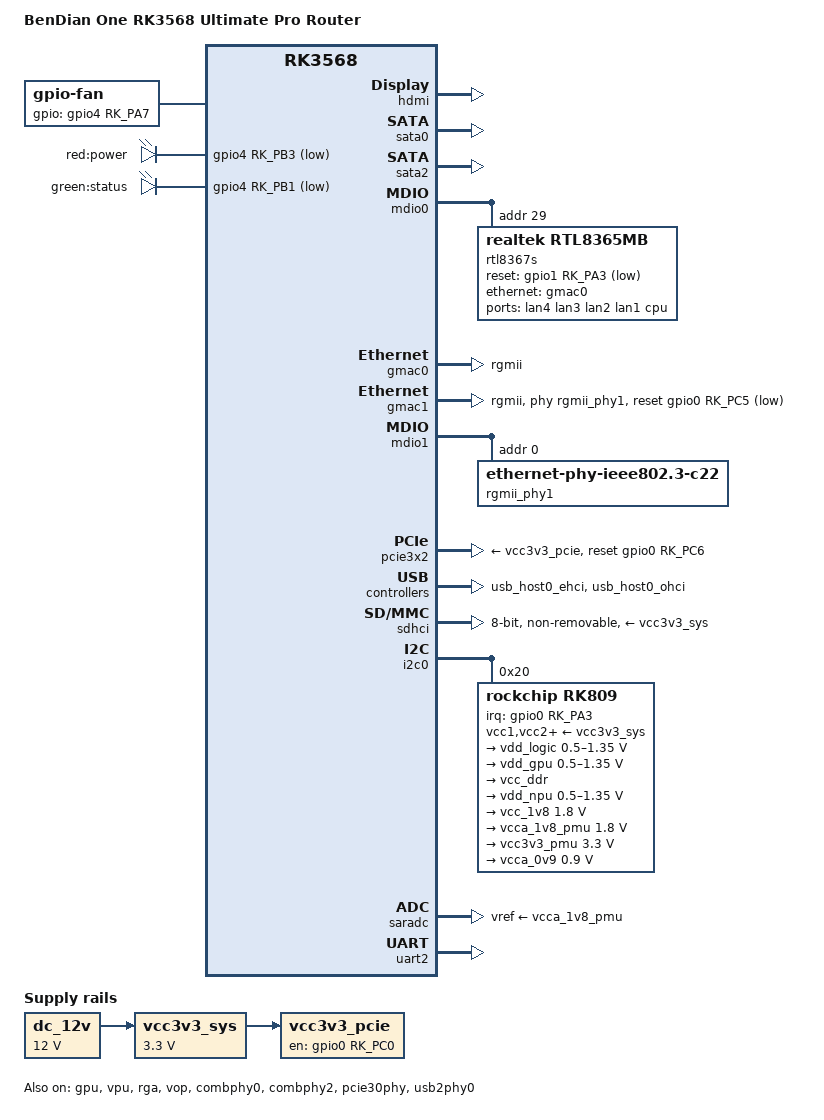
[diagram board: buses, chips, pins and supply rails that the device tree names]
// SPDX-License-Identifier: (GPL-2.0+ OR MIT)

/dts-v1/;

#include <dt-bindings/gpio/gpio.h>
#include <dt-bindings/pwm/pwm.h>
#include <dt-bindings/leds/common.h>
#include <dt-bindings/input/input.h>
#include <dt-bindings/soc/rockchip,vop2.h>
#include <dt-bindings/pinctrl/rockchip.h>
#include <dt-bindings/thermal/thermal.h>
#include "rk3568.dtsi"

/ {
	model = "BenDian One RK3568 Ultimate Pro Router";
	compatible = "bendian,bd-one", "rockchip,rk3568";

	aliases {
		ethernet0 = &gmac0;
		ethernet1 = &gmac1;
		mmc0 = &sdhci;
		serial2 = &uart2;
	};

	chosen {
		stdout-path = "serial2:1500000n8";
	};

	cpu0_opp_table: opp-table-0 {
		compatible = "operating-points-v2";
		opp-shared;
		opp-408000000  { opp-hz = /bits/ 64 <408000000>;  opp-microvolt = <825000>; };
		opp-600000000  { opp-hz = /bits/ 64 <600000000>;  opp-microvolt = <825000>; };
		opp-816000000  { opp-hz = /bits/ 64 <816000000>;  opp-microvolt = <825000>; };
		opp-1104000000 { opp-hz = /bits/ 64 <1104000000>; opp-microvolt = <825000>; };
		opp-1416000000 { opp-hz = /bits/ 64 <1416000000>; opp-microvolt = <900000>; };
		opp-1608000000 { opp-hz = /bits/ 64 <1608000000>; opp-microvolt = <1000000>; };
		opp-1800000000 { opp-hz = /bits/ 64 <1800000000>; opp-microvolt = <1100000>; };
		opp-1992000000 { opp-hz = /bits/ 64 <1992000000>; opp-microvolt = <1150000>; };
	};

	gpu_opp_table: opp-table-1 {
		compatible = "operating-points-v2";
		opp-200000000 { opp-hz = /bits/ 64 <200000000>; opp-microvolt = <825000>; };
		opp-400000000 { opp-hz = /bits/ 64 <400000000>; opp-microvolt = <825000>; };
		opp-600000000 { opp-hz = /bits/ 64 <600000000>; opp-microvolt = <900000>; };
		opp-800000000 { opp-hz = /bits/ 64 <800000000>; opp-microvolt = <1000000>; };
	};

	fiq-debugger {
		compatible = "rockchip,fiq-debugger";
		rockchip,serial-id = <2>;
		rockchip,wake-irq = <0>;
		rockchip,irq-mode-enable = <1>;
		rockchip,baudrate = <1500000>;
		interrupts = <GIC_SPI 252 IRQ_TYPE_LEVEL_LOW>;
		pinctrl-names = "default";
		pinctrl-0 = <&uart2m0_xfer>;
		status = "okay";
	};

	fan: gpio-fan {
		compatible = "gpio-fan";
		gpios = <&gpio4 RK_PA7 GPIO_ACTIVE_HIGH>;
		gpio-fan,speed-map = <0 0>, <3000 1>;
		pinctrl-names = "default";
		pinctrl-0 = <&fan_pins>;
		#cooling-cells = <2>;
	};

	leds {
		compatible = "gpio-leds";
		pinctrl-names = "default";
		pinctrl-0 = <&led_pins>;
		led_power: led-0 {
			label = "red:power";
			gpios = <&gpio4 RK_PB3 GPIO_ACTIVE_LOW>;
			default-state = "on";
		};
		led_status: led-1 {
			label = "green:status";
			gpios = <&gpio4 RK_PB1 GPIO_ACTIVE_LOW>;
			linux,default-trigger = "heartbeat";
		};
	};

	vcc3v3_pcie: vcc3v3-pcie {
		compatible = "regulator-fixed";
		regulator-name = "vcc3v3_pcie";
		enable-active-high;
		gpio = <&gpio0 RK_PC0 GPIO_ACTIVE_HIGH>;
		pinctrl-names = "default";
		pinctrl-0 = <&pcie30_pwr_pin>;
		regulator-boot-on;
		regulator-always-on;
		vin-supply = <&vcc3v3_sys>;
	};

	dc_12v: dc-12v {
		compatible = "regulator-fixed";
		regulator-always-on;
		regulator-min-microvolt = <12000000>;
		regulator-max-microvolt = <12000000>;
	};

	vcc3v3_sys: vcc3v3-sys {
		compatible = "regulator-fixed";
		regulator-always-on;
		vin-supply = <&dc_12v>;
		regulator-min-microvolt = <3300000>;
		regulator-max-microvolt = <3300000>;
	};
};

&pmu_io_domains {
	status = "okay";
	pmuio1-supply = <&vcc3v3_pmu>;
	pmuio2-supply = <&vcc3v3_pmu>;
	vccio1-supply = <&vcc3v3_sys>;
	vccio2-supply = <&vcc_1v8>;
	vccio3-supply = <&vcc3v3_sys>;
	vccio4-supply = <&vcc3v3_sys>;
	vccio5-supply = <&vcc3v3_sys>;
	vccio6-supply = <&vcc3v3_sys>;
	vccio7-supply = <&vcc3v3_sys>;
};

&gpu {
	status = "okay";
	mali-supply = <&vdd_gpu>;
	operating-points-v2 = <&gpu_opp_table>;
};

&vpu { status = "okay"; };
&rga { status = "okay"; };

&hdmi {
	status = "okay";
	pinctrl-names = "default";
	pinctrl-0 = <&hdmitx_scl &hdmitx_sda &hdmitxm0_cec>;
};
&hdmi_in { status = "okay"; };
&vop { status = "okay"; };

&combphy0 { status = "okay"; };
&combphy2 { status = "okay"; };
&sata0 { status = "okay"; };
&sata2 { status = "okay"; };

&mdio0 {
	#address-cells = <1>;
	#size-cells = <0>;
	rtl8367s: switch@1d {
		compatible = "realtek,rtl8365mb";
		reg = <0x1d>;
		reset-gpios = <&gpio1 RK_PA3 GPIO_ACTIVE_LOW>;
		ports {
			#address-cells = <1>;
			#size-cells = <0>;
			port@0 { reg = <0>; label = "lan4"; };
			port@1 { reg = <1>; label = "lan3"; };
			port@2 { reg = <2>; label = "lan2"; };
			port@3 { reg = <3>; label = "lan1"; };
			port@7 {
				reg = <7>;
				label = "cpu";
				ethernet = <&gmac0>;
				phy-mode = "rgmii";
				fixed-link { speed = <1000>; full-duplex; };
			};
		};
	};
};

&gmac0 {
	status = "okay";
	phy-mode = "rgmii";
	tx_delay = <0x4f>;
	rx_delay = <0x0f>;
	pinctrl-names = "default";
	pinctrl-0 = <&gmac0_miim &gmac0_tx_bus2 &gmac0_rx_bus2 &gmac0_rgmii_clk &gmac0_rgmii_bus>;
};

&gmac1 {
	status = "okay";
	phy-mode = "rgmii";
	snps,reset-gpio = <&gpio0 RK_PC5 GPIO_ACTIVE_LOW>;
	tx_delay = <0x4f>;
	rx_delay = <0x26>;
	pinctrl-0 = <&gmac1m1_miim &gmac1m1_tx_bus2 &gmac1m1_rx_bus2 &gmac1m1_rgmii_clk &gmac1m1_rgmii_bus>;
	phy-handle = <&rgmii_phy1>;
};

&mdio1 {
	rgmii_phy1: phy@0 {
		compatible = "ethernet-phy-ieee802.3-c22";
		reg = <0x0>;
	};
};

&pcie3x2 {
	reset-gpios = <&gpio0 RK_PC6 GPIO_ACTIVE_HIGH>;
	vpcie3v3-supply = <&vcc3v3_pcie>;
	aspm-no-l0s;
	status = "okay";
};

&pcie30phy {
	data-lanes = <1 2>;
	status = "okay";
};

/* --- USB 2.0 --- */
&usb_host0_ehci { status = "okay"; };
&usb_host0_ohci { status = "okay"; };
&usb2phy0 { status = "okay"; };

&sdhci {
	bus-width = <8>;
	max-frequency = <200000000>;
	supports-emmc;
	non-removable;
	mmc-hs200-1_8v;
	vmmc-supply = <&vcc3v3_sys>;
	status = "okay";
};

&i2c0 {
	status = "okay";

	rk809: pmic@20 {
		compatible = "rockchip,rk809";
		reg = <0x20>;
		interrupt-parent = <&gpio0>;
		interrupts = <RK_PA3 IRQ_TYPE_LEVEL_LOW>;
		pinctrl-names = "default", "pmic-sleep", "pmic-reset";
		pinctrl-0 = <&pmic_int>;
		pinctrl-1 = <&soc_slppin_slp>;
		pinctrl-2 = <&soc_slppin_rst>;

		vcc1-supply = <&vcc3v3_sys>;
		vcc2-supply = <&vcc3v3_sys>;
		vcc3-supply = <&vcc3v3_sys>;
		vcc4-supply = <&vcc3v3_sys>;
		vcc5-supply = <&vcc3v3_sys>;
		vcc6-supply = <&vcc3v3_sys>;
		vcc7-supply = <&vcc3v3_sys>;
		vcc8-supply = <&vcc3v3_sys>;
		vcc9-supply = <&vcc3v3_sys>;

		regulators {
			/* DCDC_REG1: Logic */
			vdd_logic: DCDC_REG1 {
				regulator-name = "vdd_logic";
				regulator-always-on;
				regulator-boot-on;
				regulator-init-microvolt = <900000>;
				regulator-min-microvolt = <500000>;
				regulator-max-microvolt = <1350000>;
				regulator-ramp-delay = <6001>;
				regulator-initial-mode = <0x2>;
				regulator-state-mem {
					regulator-off-in-suspend;
				};
			};

			/* DCDC_REG2: GPU */
			vdd_gpu: DCDC_REG2 {
				regulator-name = "vdd_gpu";
				regulator-always-on;
				regulator-init-microvolt = <900000>;
				regulator-min-microvolt = <500000>;
				regulator-max-microvolt = <1350000>;
				regulator-ramp-delay = <6001>;
				regulator-initial-mode = <0x2>;
				regulator-state-mem {
					regulator-off-in-suspend;
				};
			};

			/* DCDC_REG3: DDR */
			vcc_ddr: DCDC_REG3 {
				regulator-name = "vcc_ddr";
				regulator-always-on;
				regulator-boot-on;
				regulator-initial-mode = <0x2>;
				regulator-state-mem {
					regulator-on-in-suspend;
				};
			};

			/* DCDC_REG4: NPU */
			vdd_npu: DCDC_REG4 {
				regulator-name = "vdd_npu";
				regulator-min-microvolt = <500000>;
				regulator-max-microvolt = <1350000>;
				regulator-initial-mode = <0x2>;
				regulator-state-mem {
					regulator-off-in-suspend;
				};
			};

			/* DCDC_REG5: 1.8V IO */
			vcc_1v8: DCDC_REG5 {
				regulator-name = "vcc_1v8";
				regulator-always-on;
				regulator-boot-on;
				regulator-min-microvolt = <1800000>;
				regulator-max-microvolt = <1800000>;
				regulator-state-mem {
					regulator-on-in-suspend;
					regulator-suspend-microvolt = <1800000>;
				};
			};

			/* LDO_REG1: PMU 1.8V */
			vcca_1v8_pmu: LDO_REG1 {
				regulator-name = "vcca_1v8_pmu";
				regulator-always-on;
				regulator-boot-on;
				regulator-min-microvolt = <1800000>;
				regulator-max-microvolt = <1800000>;
				regulator-state-mem {
					regulator-on-in-suspend;
					regulator-suspend-microvolt = <1800000>;
				};
			};

			/* LDO_REG2: PMU 3.3V */
			vcc3v3_pmu: LDO_REG2 {
				regulator-name = "vcc3v3_pmu";
				regulator-always-on;
				regulator-boot-on;
				regulator-min-microvolt = <3300000>;
				regulator-max-microvolt = <3300000>;
				regulator-state-mem {
					regulator-on-in-suspend;
					regulator-suspend-microvolt = <3300000>;
				};
			};

			vcca_0v9: LDO_REG3 {
				regulator-name = "vcca_0v9";
				regulator-always-on;
				regulator-boot-on;
				regulator-min-microvolt = <900000>;
				regulator-max-microvolt = <900000>;
				regulator-state-mem {
					regulator-on-in-suspend;
					regulator-suspend-microvolt = <900000>;
				};
			};
		};
	};
};

&pinctrl {
	leds {
		led_pins: led-pins {
			rockchip,pins = <4 RK_PB3 RK_FUNC_GPIO &pcfg_pull_none>,
			                <4 RK_PB1 RK_FUNC_GPIO &pcfg_pull_none>;
		};
	};
	fan {
		fan_pins: fan-pins {
			rockchip,pins = <4 RK_PA7 RK_FUNC_GPIO &pcfg_pull_none>;
		};
	};
	pcie {
		pcie30_pwr_pin: pcie30-pwr-pin {
			rockchip,pins = <0 RK_PC0 RK_FUNC_GPIO &pcfg_pull_none>;
		};
	};
	pmic {
		pmic_int: pmic-int {
			rockchip,pins = <0 RK_PA3 RK_FUNC_GPIO &pcfg_pull_up>;
		};
		soc_slppin_slp: soc-slppin-slp {
			rockchip,pins = <0 RK_PA2 1 &pcfg_pull_none>;
		};
		soc_slppin_rst: soc-slppin-rst {
			rockchip,pins = <0 RK_PA2 2 &pcfg_pull_none>;
		};
	};
};

&saradc {
	status = "okay";
	vref-supply = <&vcca_1v8_pmu>; 
};

&cpu_thermal {
	trips {
		cpu_active: cpu-active {
			temperature = <55000>;
			hysteresis = <2000>;
			type = "active";
		};
	};
	cooling-maps {
		map1 {
			trip = <&cpu_active>;
			cooling-device = <&fan THERMAL_NO_LIMIT THERMAL_NO_LIMIT>;
		};
	};
};

&uart2 { status = "okay"; };
